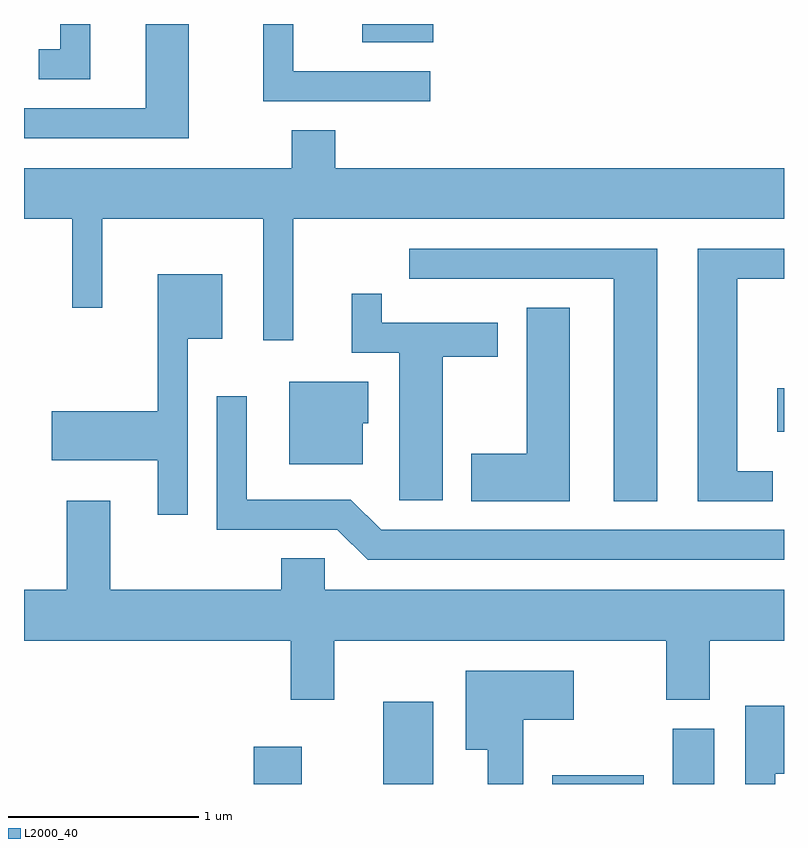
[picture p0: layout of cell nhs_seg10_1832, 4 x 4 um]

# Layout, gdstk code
import gdstk
lib = gdstk.Library(unit=1e-6, precision=1e-09)
def R(c, l, rs):  # rectangles x0, y0, x1, y1
    for r in rs: c.add(gdstk.rectangle(r[:2], r[2:], *l))
def P(c, l, *ps):  # polygons
    for p in ps: c.add(gdstk.Polygon(p, *l))
L2000_40 = (2000, 40)

nhs_seg10_1832 = lib.new_cell('nhs_seg10_1832')
R(nhs_seg10_1832, L2000_40, [(240.821,2086.522,241.074,2086.719), (241.501,2086.522,241.764,2086.954), (242.391,2086.522,242.874,2086.569), (243.026,2086.522,243.244,2086.814), (243.576,2088.376,243.611,2088.604), (241.391,2090.426,241.764,2090.522)])
P(nhs_seg10_1832, L2000_40, [(240.479,2090.522),(240.251,2090.522),(240.251,2090.079),(239.611,2090.079),(239.611,2089.921),(240.479,2089.921)],
  [(239.613,2090.522),(239.611,2090.522),(239.611,2090.52)],
  [(239.959,2090.522),(239.801,2090.522),(239.801,2090.389),(239.688,2090.389),(239.688,2090.231),(239.959,2090.231)],
  [(241.748,2090.274),(241.029,2090.274),(241.029,2090.522),(240.871,2090.522),(240.871,2090.116),(241.748,2090.116)],
  [(241.029,2089.496),(243.611,2089.496),(243.611,2089.764),(241.249,2089.764),(241.249,2089.964),(241.021,2089.964),(241.021,2089.764),(239.611,2089.764),(239.611,2089.496),(239.866,2089.496),(239.866,2089.028),(240.024,2089.028),(240.024,2089.496),(240.871,2089.496),(240.871,2088.858),(241.029,2088.858)],
  [(243.553,2088.169),(243.364,2088.169),(243.364,2089.181),(243.611,2089.181),(243.611,2089.339),(243.156,2089.339),(243.156,2088.011),(243.553,2088.011)],
  [(242.944,2089.339),(241.638,2089.339),(241.638,2089.181),(242.716,2089.181),(242.716,2088.011),(242.944,2088.011)],
  [(240.474,2088.866),(240.654,2088.866),(240.654,2089.204),(240.316,2089.204),(240.316,2088.484),(239.756,2088.484),(239.756,2088.226),(240.316,2088.226),(240.316,2087.938),(240.474,2087.938)],
  [(241.814,2088.771),(242.104,2088.771),(242.104,2088.949),(241.494,2088.949),(241.494,2089.103),(241.336,2089.103),(241.336,2088.791),(241.586,2088.791),(241.586,2088.016),(241.814,2088.016)],
  [(242.484,2089.029),(242.256,2089.029),(242.256,2088.259),(241.966,2088.259),(241.966,2088.011),(242.484,2088.011)],
  [(241.394,2088.421),(241.424,2088.421),(241.424,2088.639),(241.006,2088.639),(241.006,2088.206),(241.394,2088.206)],
  [(243.611,2087.859),(241.492,2087.859),(241.332,2088.019),(240.784,2088.019),(240.784,2088.563),(240.626,2088.563),(240.626,2087.861),(241.259,2087.861),(241.419,2087.701),(243.611,2087.701)],
  [(241.244,2087.276),(242.991,2087.276),(242.991,2086.966),(243.219,2086.966),(243.219,2087.276),(243.611,2087.276),(243.611,2087.544),(241.194,2087.544),(241.194,2087.709),(240.966,2087.709),(240.966,2087.544),(240.064,2087.544),(240.064,2088.014),(239.836,2088.014),(239.836,2087.544),(239.611,2087.544),(239.611,2087.276),(241.016,2087.276),(241.016,2086.966),(241.244,2086.966)],
  [(242.239,2086.861),(242.504,2086.861),(242.504,2087.119),(241.936,2087.119),(241.936,2086.701),(242.051,2086.701),(242.051,2086.522),(242.239,2086.522)],
  [(243.564,2086.576),(243.611,2086.576),(243.611,2086.934),(243.406,2086.934),(243.406,2086.522),(243.564,2086.522)])

lib.write_gds('nhs_seg10_1832.gds')
